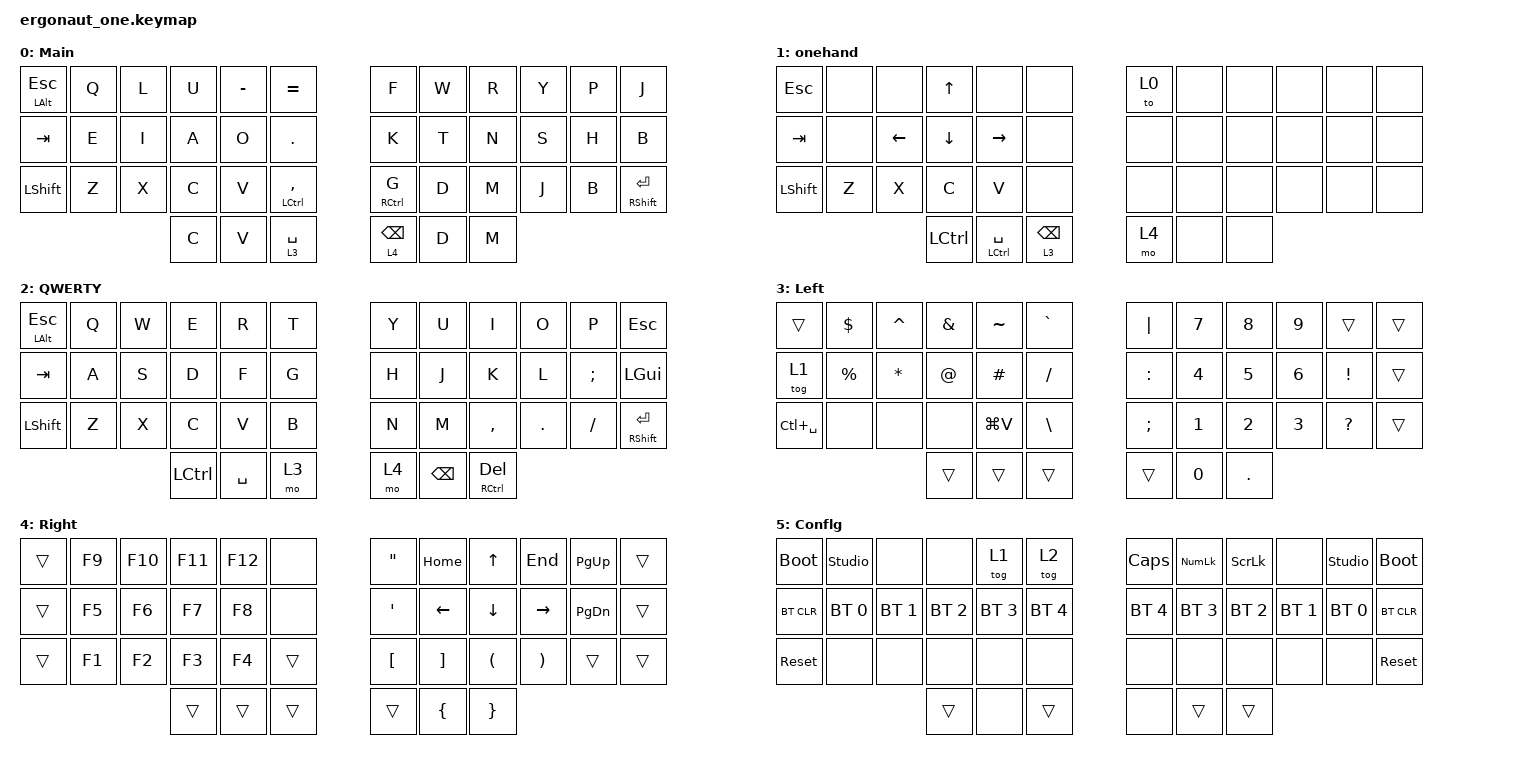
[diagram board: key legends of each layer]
#include <behaviors.dtsi>
#include <dt-bindings/zmk/bt.h>
#include <dt-bindings/zmk/keys.h>

#define DEF 0
#define LWR 1
#define RSE 2
#define ADJ 3

&lt { quick-tap-ms = <150>; };

&mt {
    flavor = "tap-preferred";
    quick-tap-ms = <150>;
};

/ {
    conditional_layers {
        compatible = "zmk,conditional-layers";

        tri-layer {
            if-layers = <3 4>;
            then-layer = <5>;
        };
    };

    combos {
        compatible = "zmk,combos";

        PrintLeft {
            bindings = <&kp PRINTSCREEN>;
            key-positions = <5 17>;
            layers = <0>;
        };

        PrintRight {
            bindings = <&kp PRINTSCREEN>;
            key-positions = <6 18>;
            layers = <0>;
        };
    };

    keymap {
        compatible = "zmk,keymap";

        Main {
            display-name = "Main";
            bindings = <
&mt LALT ESCAPE  &kp Q  &kp L  &kp U  &kp MINUS  &kp EQUAL        &kp F            &kp W  &kp R  &kp Y  &kp P  &kp J
&kp TAB          &kp E  &kp I  &kp A  &kp O      &kp DOT          &kp K            &kp T  &kp N  &kp S  &kp H  &kp B
&kp LSHFT        &kp Z  &kp X  &kp C  &kp V      &mt LCTRL COMMA  &mt RCTRL G      &kp D  &kp M  &kp J  &kp B  &mt RIGHT_SHIFT RET
                               &kp C  &kp V      &lt 3 SPACE      &lt 4 BACKSPACE  &kp D  &kp M
            >;
        };

        onehand {
            bindings = <
&kp ESC    &none  &none     &kp UP     &none            &none            &to 0  &none  &none  &none  &none  &none
&kp TAB    &none  &kp LEFT  &kp DOWN   &kp RIGHT        &none            &none  &none  &none  &none  &none  &none
&kp LSHFT  &kp Z  &kp X     &kp C      &kp V            &none            &none  &none  &none  &none  &none  &none
                            &kp LCTRL  &mt LCTRL SPACE  &lt 3 BACKSPACE  &mo 4  &none  &none
            >;
        };

        QWERTY {
            display-name = "QWERTY";
            bindings = <
&mt LALT ESCAPE  &kp Q  &kp W  &kp E      &kp R      &kp T  &kp Y  &kp U          &kp I          &kp O    &kp P     &kp ESC
&kp TAB          &kp A  &kp S  &kp D      &kp F      &kp G  &kp H  &kp J          &kp K          &kp L    &kp SEMI  &kp LGUI
&kp LSHFT        &kp Z  &kp X  &kp C      &kp V      &kp B  &kp N  &kp M          &kp COMMA      &kp DOT  &kp FSLH  &mt RIGHT_SHIFT RET
                               &kp LCTRL  &kp SPACE  &mo 3  &mo 4  &kp BACKSPACE  &mt RCTRL DEL
            >;
        };

        Left {
            display-name = "Left";
            bindings = <
&trans         &kp DOLLAR   &kp CARET     &kp AMPERSAND  &kp TILDE  &kp GRAVE      &kp PIPE   &kp N7        &kp N8   &kp N9  &trans        &trans
&tog 1         &kp PERCENT  &kp ASTERISK  &kp AT         &kp HASH   &kp FSLH       &kp COLON  &kp N4        &kp N5   &kp N6  &kp EXCL      &trans
&kp LC(SPACE)  &none        &none         &none          &kp LG(V)  &kp BACKSLASH  &kp SEMI   &kp N1        &kp N2   &kp N3  &kp QUESTION  &trans
                                          &trans         &trans     &trans         &trans     &kp NUMBER_0  &kp DOT
            >;
        };

        Right {
            display-name = "Right";
            bindings = <
&trans  &kp F9  &kp F10  &kp F11  &kp F12  &none   &kp DOUBLE_QUOTES  &kp HOME        &kp UP                &kp END                &kp PAGE_UP    &trans
&trans  &kp F5  &kp F6   &kp F7   &kp F8   &none   &kp SQT            &kp LEFT        &kp DOWN              &kp RIGHT              &kp PAGE_DOWN  &trans
&trans  &kp F1  &kp F2   &kp F3   &kp F4   &trans  &kp LBKT           &kp RBKT        &kp LEFT_PARENTHESIS  &kp RIGHT_PARENTHESIS  &trans         &trans
                         &trans   &trans   &trans  &trans             &kp LEFT_BRACE  &kp RIGHT_BRACE
            >;
        };

        Config {
            display-name = "Conflg";
            bindings = <
&bootloader  &studio_unlock  &none         &none         &tog 1        &tog 2        &kp CAPS      &kp KP_NUMLOCK  &kp SCROLLLOCK  &none         &studio_unlock  &bootloader
&bt BT_CLR   &bt BT_SEL 0    &bt BT_SEL 1  &bt BT_SEL 2  &bt BT_SEL 3  &bt BT_SEL 4  &bt BT_SEL 4  &bt BT_SEL 3    &bt BT_SEL 2    &bt BT_SEL 1  &bt BT_SEL 0    &bt BT_CLR
&sys_reset   &none           &none         &none         &none         &none         &none         &none           &none           &none         &none           &sys_reset
                                           &trans        &none         &trans        &none         &trans          &trans
            >;
        };
    };
};
